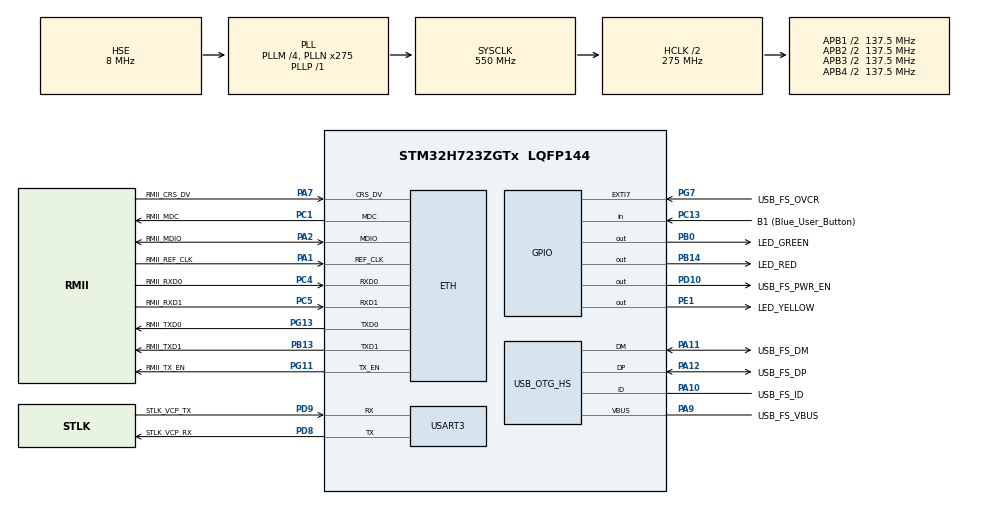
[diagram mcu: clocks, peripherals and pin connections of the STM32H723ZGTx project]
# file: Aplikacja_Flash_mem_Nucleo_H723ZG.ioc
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CORTEX_M7.CPU_DCache=Enabled
CORTEX_M7.CPU_ICache=Enabled
CORTEX_M7.default_mode_Activation=1
ETH.MediaInterface=HAL_ETH_RMII_MODE
FREERTOS.Tasks01=defaultTask,24,128,StartDefaultTask,Default,NULL,Dynamic,NULL,NULL;FlashMemTask,24,128,StartFlashMem,Default,NULL,Dynamic,NULL,NULL
FREERTOS.configUSE_NEWLIB_REENTRANT=1
Mcu.Family=STM32H7
Mcu.Name=STM32H723ZGTx
Mcu.Package=LQFP144
NVIC.PriorityGroup=NVIC_PRIORITYGROUP_4
NVIC.TIM6_DAC_IRQn=true\:15\:0\:false\:false\:true\:false\:false\:true\:true
NVIC.TimeBase=TIM6_DAC_IRQn
NVIC.TimeBaseIP=TIM6
PA1.GPIO_Label=RMII_REF_CLK
PA1.Mode=RMII
PA1.Signal=ETH_REF_CLK
PA10.GPIO_Label=USB_FS_ID
PA10.Mode=OTG/Dual-Role-Device-FS
PA10.Signal=USB_OTG_HS_ID
PA11.GPIO_Label=USB_FS_DM
PA11.Mode=OTG/Dual-Role-Device-FS
PA11.Signal=USB_OTG_HS_DM
PA12.GPIO_Label=USB_FS_DP
PA12.Mode=OTG/Dual-Role-Device-FS
PA12.Signal=USB_OTG_HS_DP
PA13(JTMS/SWDIO).GPIO_Label=SWDIO
PA13(JTMS/SWDIO).Mode=Trace_Asynchronous_SW
PA13(JTMS/SWDIO).Signal=DEBUG_JTMS-SWDIO
PA14(JTCK/SWCLK).GPIO_Label=SWCLK
PA14(JTCK/SWCLK).Mode=Trace_Asynchronous_SW
PA14(JTCK/SWCLK).Signal=DEBUG_JTCK-SWCLK
PA2.GPIO_Label=RMII_MDIO
PA2.Mode=RMII
PA2.Signal=ETH_MDIO
PA7.GPIO_Label=RMII_CRS_DV
PA7.Mode=RMII
PA7.Signal=ETH_CRS_DV
PA9.GPIO_Label=USB_FS_VBUS
PA9.Mode=Activate_VBUS_FS
PA9.Signal=USB_OTG_HS_VBUS
PB0.GPIO_Label=LED_GREEN
PB0.Signal=GPIO_Output
PB13.GPIO_Label=RMII_TXD1
PB13.Mode=RMII
PB13.Signal=ETH_TXD1
PB14.GPIO_Label=LED_RED
PB14.Signal=GPIO_Output
PB3(JTDO/TRACESWO).GPIO_Label=SWO
PB3(JTDO/TRACESWO).Mode=Trace_Asynchronous_SW
PB3(JTDO/TRACESWO).Signal=DEBUG_JTDO-SWO
PC1.GPIO_Label=RMII_MDC
PC1.Mode=RMII
PC1.Signal=ETH_MDC
PC13.GPIO_Label=B1 (Blue_User_Button)
PC13.Signal=GPIO_Input
PC14-OSC32_IN.Mode=LSE-External-Oscillator
PC14-OSC32_IN.Signal=RCC_OSC32_IN
PC15-OSC32_OUT.Mode=LSE-External-Oscillator
PC15-OSC32_OUT.Signal=RCC_OSC32_OUT
PC4.GPIO_Label=RMII_RXD0
PC4.Mode=RMII
PC4.Signal=ETH_RXD0
PC5.GPIO_Label=RMII_RXD1
PC5.Mode=RMII
PC5.Signal=ETH_RXD1
PD10.GPIO_Label=USB_FS_PWR_EN
PD10.Signal=GPIO_Output
PD8.GPIO_Label=STLK_VCP_RX
PD8.Mode=Asynchronous
PD8.Signal=USART3_TX
PD9.GPIO_Label=STLK_VCP_TX
PD9.Mode=Asynchronous
PD9.Signal=USART3_RX
PE1.GPIO_Label=LED_YELLOW
PE1.Signal=GPIO_Output
PG11.GPIO_Label=RMII_TX_EN
PG11.Mode=RMII
PG11.Signal=ETH_TX_EN
PG13.GPIO_Label=RMII_TXD0
PG13.Mode=RMII
PG13.Signal=ETH_TXD0
PG7.GPIO_Label=USB_FS_OVCR
PG7.Signal=GPXTI7
PH0-OSC_IN.GPIO_Label=MCO
PH0-OSC_IN.Mode=HSE-External-Clock-Source
PH0-OSC_IN.Signal=RCC_OSC_IN
PH1-OSC_OUT.Signal=RCC_OSC_OUT
ProjectManager.HeapSize=0x200
ProjectManager.StackSize=0x400
ProjectManager.TargetToolchain=STM32CubeIDE
RCC.ADCFreq_Value=76000000
RCC.APB1Freq_Value=137500000
RCC.APB2Freq_Value=137500000
RCC.APB3Freq_Value=137500000
RCC.APB4Freq_Value=137500000
RCC.CortexFreq_Value=550000000
RCC.D1PPRE=RCC_APB3_DIV2
RCC.D2PPRE1=RCC_APB1_DIV2
RCC.D2PPRE2=RCC_APB2_DIV2
RCC.D3PPRE=RCC_APB4_DIV2
RCC.DIVM1=4
RCC.DIVM2=1
RCC.DIVN1=275
RCC.DIVN2=19
RCC.DIVP1=1
RCC.DIVQ1=4
RCC.HCLKFreq_Value=275000000
RCC.HPRE=RCC_HCLK_DIV2
RCC.HSE_VALUE=8000000
RCC.PLLFRACN=0
RCC.PLLSourceVirtual=RCC_PLLSOURCE_HSE
RCC.SYSCLKFreq_VALUE=550000000
RCC.SYSCLKSource=RCC_SYSCLKSOURCE_PLLCLK
RCC.USBCLockSelection=RCC_USBCLKSOURCE_HSI48
RCC.USBFreq_Value=48000000
USART3.VirtualMode-Asynchronous=VM_ASYNC
VP_FREERTOS_VS_CMSIS_V2.Mode=CMSIS_V2
VP_SYS_VS_tim6.Mode=TIM6
board=NUCLEO-H723ZG

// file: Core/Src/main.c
/* USER CODE BEGIN Header */
/**
  ******************************************************************************
  * @file           : main.c
  * @brief          : Main program body
  ******************************************************************************
  * @attention
  *
  * Copyright (c) 2024 STMicroelectronics.
  * All rights reserved.
  *
  * This software is licensed under terms that can be found in the LICENSE file
  * in the root directory of this software component.
  * If no LICENSE file comes with this software, it is provided AS-IS.
  *
  ******************************************************************************
  */
/* USER CODE END Header */
#include "main.h"
#include "cmsis_os.h"
#include "eth.h"
#include "usart.h"
#include "usb_otg.h"
#include "gpio.h"

/* USER CODE BEGIN Includes */
#include "flash.h"
/* USER CODE END Includes */

void SystemClock_Config(void);
static void MPU_Config(void);
void MX_FREERTOS_Init(void);

int main(void)
{

  /* MPU Configuration--------------------------------------------------------*/
  MPU_Config();

  /* Enable I-Cache---------------------------------------------------------*/
  SCB_EnableICache();

  /* Enable D-Cache---------------------------------------------------------*/
  SCB_EnableDCache();

  /* MCU Configuration--------------------------------------------------------*/

  /* Reset of all peripherals, Initializes the Flash interface and the Systick. */
  HAL_Init();

  /* Configure the system clock */
  SystemClock_Config();

  /* Initialize all configured peripherals */
  MX_GPIO_Init();
  MX_ETH_Init();
  MX_USART3_UART_Init();
  MX_USB_OTG_HS_USB_Init();

  /* Init scheduler */
  osKernelInitialize();  /* Call init function for freertos objects (in freertos.c) */
  MX_FREERTOS_Init();

  /* Start scheduler */
  osKernelStart();
  /* We should never get here as control is now taken by the scheduler */
  /* Infinite loop */
  while (1)
  {

  }
}

void SystemClock_Config(void)
{
  RCC_OscInitTypeDef RCC_OscInitStruct = {0};
  RCC_ClkInitTypeDef RCC_ClkInitStruct = {0};

  /** Supply configuration update enable
  */
  HAL_PWREx_ConfigSupply(PWR_LDO_SUPPLY);

  /** Configure the main internal regulator output voltage
  */
  __HAL_PWR_VOLTAGESCALING_CONFIG(PWR_REGULATOR_VOLTAGE_SCALE0);

  while(!__HAL_PWR_GET_FLAG(PWR_FLAG_VOSRDY)) {}

  /** Initializes the RCC Oscillators according to the specified parameters
  * in the RCC_OscInitTypeDef structure.
  */
  RCC_OscInitStruct.OscillatorType = RCC_OSCILLATORTYPE_HSI48|RCC_OSCILLATORTYPE_HSE;
  RCC_OscInitStruct.HSEState = RCC_HSE_BYPASS;
  RCC_OscInitStruct.HSI48State = RCC_HSI48_ON;
  RCC_OscInitStruct.PLL.PLLState = RCC_PLL_ON;
  RCC_OscInitStruct.PLL.PLLSource = RCC_PLLSOURCE_HSE;
  RCC_OscInitStruct.PLL.PLLM = 4;
  RCC_OscInitStruct.PLL.PLLN = 275;
  RCC_OscInitStruct.PLL.PLLP = 1;
  RCC_OscInitStruct.PLL.PLLQ = 4;
  RCC_OscInitStruct.PLL.PLLR = 2;
  RCC_OscInitStruct.PLL.PLLRGE = RCC_PLL1VCIRANGE_1;
  RCC_OscInitStruct.PLL.PLLVCOSEL = RCC_PLL1VCOWIDE;
  RCC_OscInitStruct.PLL.PLLFRACN = 0;
  if (HAL_RCC_OscConfig(&RCC_OscInitStruct) != HAL_OK)
  {
    Error_Handler();
  }

  /** Initializes the CPU, AHB and APB buses clocks
  */
  RCC_ClkInitStruct.ClockType = RCC_CLOCKTYPE_HCLK|RCC_CLOCKTYPE_SYSCLK
                              |RCC_CLOCKTYPE_PCLK1|RCC_CLOCKTYPE_PCLK2
                              |RCC_CLOCKTYPE_D3PCLK1|RCC_CLOCKTYPE_D1PCLK1;
  RCC_ClkInitStruct.SYSCLKSource = RCC_SYSCLKSOURCE_PLLCLK;
  RCC_ClkInitStruct.SYSCLKDivider = RCC_SYSCLK_DIV1;
  RCC_ClkInitStruct.AHBCLKDivider = RCC_HCLK_DIV2;
  RCC_ClkInitStruct.APB3CLKDivider = RCC_APB3_DIV2;
  RCC_ClkInitStruct.APB1CLKDivider = RCC_APB1_DIV2;
  RCC_ClkInitStruct.APB2CLKDivider = RCC_APB2_DIV2;
  RCC_ClkInitStruct.APB4CLKDivider = RCC_APB4_DIV2;

  if (HAL_RCC_ClockConfig(&RCC_ClkInitStruct, FLASH_LATENCY_3) != HAL_OK)
  {
    Error_Handler();
  }
}

/* MPU Configuration */

void MPU_Config(void)
{
  MPU_Region_InitTypeDef MPU_InitStruct = {0};

  /* Disables the MPU */
  HAL_MPU_Disable();

  /** Initializes and configures the Region and the memory to be protected
  */
  MPU_InitStruct.Enable = MPU_REGION_ENABLE;
  MPU_InitStruct.Number = MPU_REGION_NUMBER0;
  MPU_InitStruct.BaseAddress = 0x0;
  MPU_InitStruct.Size = MPU_REGION_SIZE_4GB;
  MPU_InitStruct.SubRegionDisable = 0x87;
  MPU_InitStruct.TypeExtField = MPU_TEX_LEVEL0;
  MPU_InitStruct.AccessPermission = MPU_REGION_NO_ACCESS;
  MPU_InitStruct.DisableExec = MPU_INSTRUCTION_ACCESS_DISABLE;
  MPU_InitStruct.IsShareable = MPU_ACCESS_SHAREABLE;
  MPU_InitStruct.IsCacheable = MPU_ACCESS_NOT_CACHEABLE;
  MPU_InitStruct.IsBufferable = MPU_ACCESS_NOT_BUFFERABLE;

  HAL_MPU_ConfigRegion(&MPU_InitStruct);
  /* Enables the MPU */
  HAL_MPU_Enable(MPU_PRIVILEGED_DEFAULT);

}

void HAL_TIM_PeriodElapsedCallback(TIM_HandleTypeDef *htim)
{
  if (htim->Instance == TIM6) {
    HAL_IncTick();
  }
}

void Error_Handler(void)
{
  __disable_irq();
  while (1)
  {
  }
}

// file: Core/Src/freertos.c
/* USER CODE BEGIN Header */
/**
  ******************************************************************************
  * File Name          : freertos.c
  * Description        : Code for freertos applications
  ******************************************************************************
  * @attention
  *
  * Copyright (c) 2024 STMicroelectronics.
  * All rights reserved.
  *
  * This software is licensed under terms that can be found in the LICENSE file
  * in the root directory of this software component.
  * If no LICENSE file comes with this software, it is provided AS-IS.
  *
  ******************************************************************************
  */
/* USER CODE END Header */

#include "FreeRTOS.h"
#include "task.h"
#include "main.h"
#include "cmsis_os.h"

/* USER CODE BEGIN Includes */
#include "stdio.h"
#include "flash.h"
#include "string.h"
/* USER CODE END Includes */

/* USER CODE BEGIN PD */
#define ADDRESFLASHMEM		(0x080B0000)
/* USER CODE END PD */

/* Definitions for defaultTask */
osThreadId_t defaultTaskHandle;
const osThreadAttr_t defaultTask_attributes = {
  .name = "defaultTask",
  .stack_size = 128 * 4,
  .priority = (osPriority_t) osPriorityNormal,
};
/* Definitions for FlashMemTask */
osThreadId_t FlashMemTaskHandle;
const osThreadAttr_t FlashMemTask_attributes = {
  .name = "FlashMemTask",
  .stack_size = 128 * 4,
  .priority = (osPriority_t) osPriorityNormal,
};

void StartDefaultTask(void *argument);
void StartFlashMem(void *argument);

void MX_FREERTOS_Init(void); /* (MISRA C 2004 rule 8.1) */

void MX_FREERTOS_Init(void) {

  /* Create the thread(s) */
  /* creation of defaultTask */
  defaultTaskHandle = osThreadNew(StartDefaultTask, NULL, &defaultTask_attributes);

  /* creation of FlashMemTask */
  FlashMemTaskHandle = osThreadNew(StartFlashMem, NULL, &FlashMemTask_attributes);

}

void StartDefaultTask(void *argument)
{
  /* USER CODE BEGIN StartDefaultTask */
  /* Infinite loop */
  for(;;)
  {
	  HAL_GPIO_TogglePin(LED_GREEN_GPIO_Port, LED_GREEN_Pin);
	  osDelay(250);
  }
  /* USER CODE END StartDefaultTask */
}

void StartFlashMem(void *argument)
{
  /* USER CODE BEGIN StartFlashMem */
	char *data = "Hello from NUCLEO-H723ZG. This is test write and read from memory flash: ";
	uint32_t addressflash = ADDRESFLASHMEM;
	uint32_t noofdatatowrite = 0;
	char str2[20];
	char txdata[strlen(data) + strlen(str2)];
	char rxdata[strlen(data) + strlen(str2)];
	uint16_t noofwrite = 0;
	uint32_t noofdatatoread = 0;
  /* Infinite loop */
  for(;;)
  {

	  addressflash = ADDRESFLASHMEM;
	  memcpy(txdata, data, strlen(data));
	  sprintf(str2, "%d", noofwrite++);
	  strcpy(&txdata[strlen(data)], str2);
	  noofdatatowrite = (strlen(txdata) + strlen(str2))/4;
	  int16_t status = Flash_Program_Data(addressflash, (uint32_t*)txdata, noofdatatowrite);
	  if (status == 0) {
		  printf("Tx data: %s \n", txdata);
	  }else
	  {
		  printf("Error: %d", status);
	  }

	  addressflash = ADDRESFLASHMEM;
	  noofdatatoread = (strlen(txdata) + strlen(str2))/4;
	  Flash_Read_Data(addressflash, (uint32_t*)&rxdata[0], noofdatatoread);
	  printf("RX data: %s \n", rxdata);
	  HAL_GPIO_TogglePin(LED_RED_GPIO_Port, LED_RED_Pin);
	  osDelay(5000);
  }
  /* USER CODE END StartFlashMem */
}
